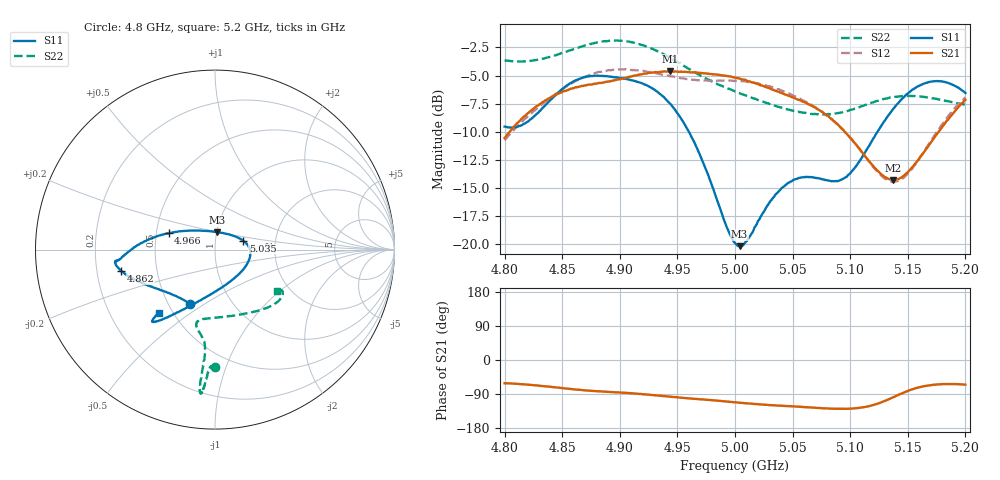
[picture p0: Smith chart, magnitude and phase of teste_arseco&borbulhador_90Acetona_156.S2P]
! Network Analyzer HP8722D
! Hewlett-Packard
! Data name: Linha & Wilkinson
! Saver's name: Rodrigo Anjos
! Comments: Teste da utilização de aquisição
! continua pelo VNA HP8722D
! Time and date: 17/4/2025 12:21
!  Frequency  S11  S21  S12  S22
# HZ  S  MA R 50
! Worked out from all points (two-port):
!   401 points, 4.8 GHz to 5.2 GHz, reference 50 ohm
!   highest |S21| = -4.62 dB at 4.944 GHz (marker M1); lowest = -14.3 dB at 5.137 GHz (marker M2)
!   |S21| within 3 dB of the highest: 4.829 GHz to 5.065 GHz (235.7 MHz wide, 4.76 % of centre); 5.195502 GHz to end of sweep
!   lowest |S11| = -20.2 dB at 5.004 GHz (marker M3), VSWR 1.22, Z = 50.4 + j9.89 ohm
!   |S11| at or under -10 dB: 4.96 GHz to 5.124 GHz (163.6 MHz wide, 3.25 % of centre)
!   |S22| runs from -8.5 to -1.9 dB; largest |S21 - S12| = 0.88
!   S11 on the Smith chart (normalised r, x): 4.8 GHz: 0.64, -0.44; 4.862 GHz: 0.31, -0.10; 4.966 GHz: 0.58, +0.11; 5.035 GHz: 1.37, +0.14; 5.2 GHz: 0.42, -0.38
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4.8e9  0.3335 -114.6  0.2968 -61.2  0.2898 -175.5  0.6559 -90.2
4.819e9  0.3482 -134.7  0.3776 -64.7  0.3653 -174.3  0.6517 -91.8
4.862e9  0.5358 -167.1  0.4995 -78.0  0.5325 -177.7  0.7441 -94.2
4.867e9  0.5481 -169.2  0.5063 -79.2  0.5477 -178.6  0.7566 -94.3
4.899e9  0.5482 -173.6  0.54 -85.7  0.5983 174.8  0.8023 -95.8
4.934e9  0.4692 -179.7  0.5817 -94.2  0.5727 171.2  0.7153 -96.2
4.944e9  0.42 175.5  0.5872 -96.8  0.558 171.4  0.672 -96.0
4.966e9  0.2738 160.5  0.5793 -102.5  0.5365 173.4  0.5777 -95.4
5e9  0.1014 96.1  0.5509 -111.7  0.5335 175.7  0.478 -99.7
5.004e9  0.0981 82.1  0.5457 -112.8  0.5318 175.6  0.4698 -100.5
5.012e9  0.107 56.7  0.5296 -114.8  0.5252 175.3  0.4534 -102.2
5.035e9  0.166 17.4  0.4813 -119.7  0.4933 174.3  0.4129 -103.6
5.05e9  0.1919 2.4  0.4504 -122.5  0.4584 173.6  0.3924 -99.6
5.067e9  0.1988 -15.7  0.4122 -125.4  0.4145 173.3  0.3791 -90.5
5.087e9  0.1906 -48.0  0.3488 -128.8  0.3473 173.4  0.3815 -75.3
5.098e9  0.2027 -70.7  0.3058 -128.6  0.3056 174.6  0.3913 -66.3
5.134e9  0.3788 -118.1  0.1945 -102.8  0.1908 -155.8  0.4481 -43.3
5.137e9  0.3973 -119.8  0.193 -99.0  0.1896 -151.1  0.4509 -41.9
5.15e9  0.4679 -125.8  0.209 -81.6  0.2061 -131.4  0.4562 -37.0
5.168e9  0.5256 -130.0  0.2745 -67.3  0.2778 -113.6  0.4478 -32.6
5.184e9  0.5233 -131.5  0.3551 -63.5  0.3657 -107.7  0.4332 -31.5
5.2e9  0.4703 -131.8  0.4386 -65.0  0.4503 -107.1  0.4167 -33.9
